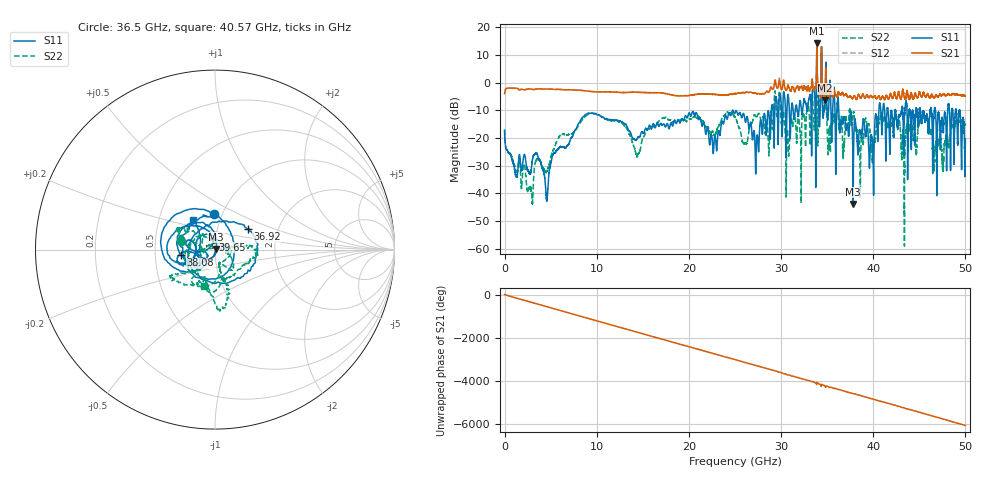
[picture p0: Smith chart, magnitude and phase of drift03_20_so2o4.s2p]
!Created with skrf (http://scikit-rf.org).
# Hz S RI R 50.0
!freq ReS11 ImS11 ReS21 ImS21 ReS12 ImS12 ReS22 ImS22
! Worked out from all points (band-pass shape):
!   10001 points, 300 kHz to 50 GHz, reference 50 ohm
!   highest |S21| = 14.18 dB at 33.88 GHz (marker M1); lowest = -6.4 dB at 34.79 GHz (marker M2)
!   |S21| within 3 dB of the highest: 33.86988 GHz to 33.88889 GHz (19.01 MHz wide, 0.0561 % of centre); 34.37691 GHz to 34.38982 GHz (12.91 MHz wide, 0.0376 % of centre)
!   lowest |S11| = -43.9 dB at 37.83 GHz (marker M3), VSWR 1.01, Z = 50.5 + j0.358 ohm
!   |S11| at or under -10 dB: start of sweep to 28.94 GHz; 36.27 GHz to 40.61 GHz (4.343 GHz wide, 11.3 % of centre); 46.75 GHz to 48.08 GHz (1.331 GHz wide, 2.81 % of centre) (the widest 3 of 53)
!   |S22| runs from -59.1 to 10.7 dB; largest |S21 - S12| = 0.81
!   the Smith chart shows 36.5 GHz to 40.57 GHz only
!   S11 on the Smith chart (normalised r, x): 36.5 GHz: 0.91, +0.38; 36.92 GHz: 1.40, +0.34; 38.08 GHz: 0.68, -0.04; 39.65 GHz: 0.97, +0.11; 40.57 GHz: 0.74, +0.25
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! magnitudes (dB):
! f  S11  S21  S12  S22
! 300 kHz  -17.3  -4.0  -4.0  -17.0
! 2.825 GHz  -32.7  -2.4  -2.4  -38.6
! 4.565 GHz  -41.9  -2.3  -2.3  -32.2
! 8.335 GHz  -13.1  -2.8  -2.8  -13.9
! 14.43 GHz  -20.0  -3.5  -3.5  -26.4
! 16.67 GHz  -15.5  -3.7  -3.7  -14.3
! 22.82 GHz  -19.3  -4.3  -4.3  -19.1
! 25 GHz  -11.0  -4.0  -4.0  -12.5
! 27.39 GHz  -19.3  -4.1  -4.1  -12.4
! 29.6 GHz  -10.4  -2.0  -2.1  -11.7
! 30.7 GHz  -5.6  -1.4  -1.5  -17.2
! 33.34 GHz  -13.7  -0.4  -0.6  -7.2
! 33.88 GHz  15.2  14.2  13.8  10.7
! 34.79 GHz  -3.1  -6.4  -5.0  -8.7
! 36.5 GHz  -14.0  -4.4  -4.4  -14.2
! 36.92 GHz  -13.3  -4.5  -4.5  -18.2
! 37.83 GHz  -43.9  -5.5  -5.5  -11.2
! 38.08 GHz  -14.3  -5.5  -5.5  -17.2
! 39.65 GHz  -24.7  -5.0  -4.9  -18.2
! 40.57 GHz  -13.8  -4.9  -5.0  -13.4
! 41.67 GHz  -12.3  -6.0  -5.9  -15.0
! 50 GHz  -20.4  -4.9  -4.9  -15.1
